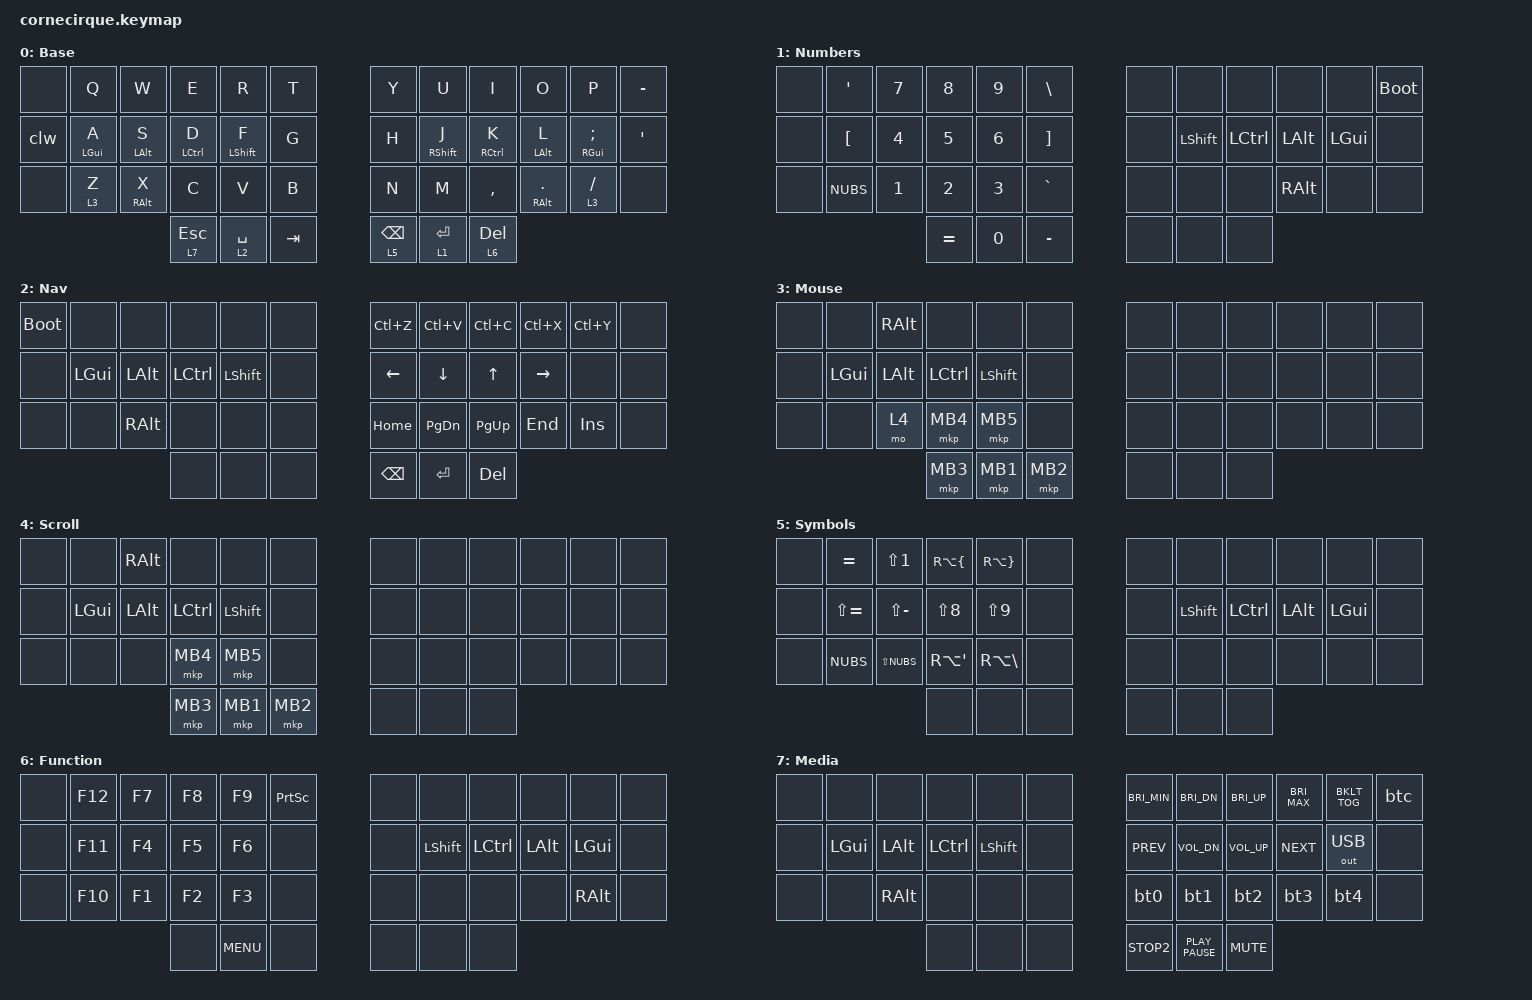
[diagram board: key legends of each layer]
/*
 * Copyright (c) 2020 The ZMK Contributors
 *
 * SPDX-License-Identifier: MIT
 */

#include <behaviors.dtsi>
#include <dt-bindings/zmk/keys.h>
#include <dt-bindings/zmk/pointing.h>
#include <dt-bindings/zmk/outputs.h>
#include <dt-bindings/zmk/bt.h>

/ {
    macros {
        bts0: bluetooth_select_0 {
            compatible = "zmk,behavior-macro";
            #binding-cells = <0>;
            bindings = <&out OUT_BLE>,
                       <&bt BT_SEL 0>;
        };
        bts1: bluetooth_select_1 {
            compatible = "zmk,behavior-macro";
            #binding-cells = <0>;
            bindings = <&out OUT_BLE>,
                       <&bt BT_SEL 1>;
        };
        bts2: bluetooth_select_2 {
            compatible = "zmk,behavior-macro";
            #binding-cells = <0>;
            bindings = <&out OUT_BLE>,
                       <&bt BT_SEL 2>;
        };
        bts3: bluetooth_select_3 {
            compatible = "zmk,behavior-macro";
            #binding-cells = <0>;
            bindings = <&out OUT_BLE>,
                       <&bt BT_SEL 3>;
        };
        bts4: bluetooth_select_4 {
            compatible = "zmk,behavior-macro";
            #binding-cells = <0>;
            bindings = <&out OUT_BLE>,
                       <&bt BT_SEL 4>;
        };
    };

    behaviors {
        hm: homerow_mods {
            compatible = "zmk,behavior-hold-tap";
            label = "HOMEROW_MODS";
            #binding-cells = <2>;
            tapping-term-ms = <200>;
            quick-tap-ms = <0>;
            flavor = "tap-preferred";
            bindings = <&kp>, <&kp>;
            require-prior-idle-ms = <150>;
        };
        ltqa: layer_tap_quick_alpha {
            compatible = "zmk,behavior-hold-tap";
            label = "LAYER_TAP_QUICK_ALPHA";
            #binding-cells = <2>;
            tapping-term-ms = <200>;
            quick-tap-ms = <0>;
            flavor = "tap-preferred";
            bindings = <&mo>, <&kp>;
            require-prior-idle-ms = <150>;
        };
        ltq: layer_tap_quick {
            compatible = "zmk,behavior-hold-tap";
            label = "LAYER_TAP_QUICK";
            #binding-cells = <2>;
            tapping-term-ms = <200>;
            quick-tap-ms = <200>;
            flavor = "hold-preferred";
            bindings = <&mo>, <&kp>;
            require-prior-idle-ms = <0>;
        };
        clw: caps_lock_word {
            compatible = "zmk,behavior-mod-morph";
            #binding-cells = <0>;
            bindings = <&kp CAPS>, <&caps_word>;
            mods = <(MOD_LSFT|MOD_RSFT)>;
        };
        bt0: bluetooth_0 {
            compatible = "zmk,behavior-tap-dance";
            #binding-cells = <0>;
            tapping-term-ms = <200>;
            bindings = <&bts0>, <&bt BT_DISC 0>;
        };
        bt1: bluetooth_1 {
            compatible = "zmk,behavior-tap-dance";
            #binding-cells = <0>;
            tapping-term-ms = <200>;
            bindings = <&bts1>, <&bt BT_DISC 1>;
        };
        bt2: bluetooth_2 {
            compatible = "zmk,behavior-tap-dance";
            #binding-cells = <0>;
            tapping-term-ms = <200>;
            bindings = <&bts2>, <&bt BT_DISC 2>;
        };
        bt3: bluetooth_3 {
            compatible = "zmk,behavior-tap-dance";
            #binding-cells = <0>;
            tapping-term-ms = <200>;
            bindings = <&bts3>, <&bt BT_DISC 3>;
        };
        bt4: bluetooth_4 {
            compatible = "zmk,behavior-tap-dance";
            #binding-cells = <0>;
            tapping-term-ms = <200>;
            bindings = <&bts4>, <&bt BT_DISC 4>;
        };
        btc: bluetooth_clear {
            compatible = "zmk,behavior-tap-dance";
            #binding-cells = <0>;
            tapping-term-ms = <200>;
            bindings = <&bt BT_CLR>, <&bt BT_CLR_ALL>;
        };
    };

    keymap {
        compatible = "zmk,keymap";

        base {
            bindings = <
                &none   &kp Q       &kp W       &kp E           &kp R           &kp T   &kp Y               &kp U           &kp I           &kp O           &kp P           &kp MINUS
                &clw    &hm LGUI A  &hm LALT S  &hm LCTRL D     &hm LSHFT F     &kp G   &kp H               &hm RSHFT J     &hm RCTRL K     &hm LALT L      &hm RGUI SEMI   &kp APOS
                &none   &ltqa 3 Z   &hm RALT X  &kp C           &kp V           &kp B   &kp N               &kp M           &kp COMMA       &hm RALT DOT    &ltqa 3 FSLH    &none
                                                &ltq 7 ESCAPE   &ltq 2 SPACE    &kp TAB &ltq 5 BACKSPACE    &ltq 1 ENTER    &ltq 6 DELETE
            >;

            display-name = "Base";
        };

        num {
            bindings = <
                &none &kp APOS &kp N7 &kp N8    &kp N9 &kp BSLH    &none &none     &none     &none    &none    &bootloader
                &none &kp LBKT &kp N4 &kp N5    &kp N6 &kp RBKT    &none &kp LSHFT &kp LCTRL &kp LALT &kp LGUI &none
                &none &kp NUBS &kp N1 &kp N2    &kp N3 &kp GRAVE   &none &none     &none     &kp RALT &none    &none
                                      &kp EQUAL &kp N0 &kp MINUS   &none &none     &none
            >;

            display-name = "Numbers";
        };

        nav {
            bindings = <
                &bootloader &none    &none    &none     &none     &none   &kp LC(Z) &kp LC(V) &kp LC(C) &kp LC(X) &kp LC(Y) &none
                &none       &kp LGUI &kp LALT &kp LCTRL &kp LSHFT &none   &kp LEFT  &kp DOWN  &kp UP    &kp RIGHT &none     &none
                &none       &none    &kp RALT &none     &none     &none   &kp HOME  &kp PG_DN &kp PG_UP &kp END   &kp INS   &none
                                              &none     &none     &none   &kp BSPC  &kp RET   &kp DEL
            >;

            display-name = "Nav";
        };

        mouse {
            bindings = <
                &none &none    &kp RALT &none     &none     &none      &none &none &none &none &none &none
                &none &kp LGUI &kp LALT &kp LCTRL &kp LSHFT &none      &none &none &none &none &none &none
                &none &none    &mo 4    &mkp MB4  &mkp MB5  &none      &none &none &none &none &none &none
                                        &mkp MB3  &mkp MB1  &mkp MB2   &none &none &none
            >;

            display-name = "Mouse";
        };

        scroll {
            bindings = <
                &none &none    &kp RALT &none     &none     &none      &none &none &none &none &none &none
                &none &kp LGUI &kp LALT &kp LCTRL &kp LSHFT &none      &none &none &none &none &none &none
                &none &none    &none    &mkp MB4  &mkp MB5  &none      &none &none &none &none &none &none
                                        &mkp MB3  &mkp MB1  &mkp MB2   &none &none &none
            >;

            display-name = "Scroll";
        };

        symbols {
            bindings = <
                &none &kp EQUAL     &kp LS(N1)    &kp RA(LBRC) &kp RA(RBRC) &none   &none &none     &none     &none    &none    &none
                &none &kp LS(EQUAL) &kp LS(MINUS) &kp LS(N8)   &kp LS(N9)   &none   &none &kp LSHFT &kp LCTRL &kp LALT &kp LGUI &none
                &none &kp NUBS      &kp LS(NUBS)  &kp RA(APOS) &kp RA(BSLH) &none   &none &none     &none     &none    &none    &none
                                                  &none        &none        &none   &none &none     &none
            >;

            display-name = "Symbols";
        };

        function {
            bindings = <
                &none &kp F12 &kp F7 &kp F8 &kp F9     &kp PSCRN   &none &none     &none     &none    &none    &none
                &none &kp F11 &kp F4 &kp F5 &kp F6     &none       &none &kp LSHFT &kp LCTRL &kp LALT &kp LGUI &none
                &none &kp F10 &kp F1 &kp F2 &kp F3     &none       &none &none     &none     &none    &kp RALT &none
                                     &none  &kp K_MENU &none       &none &none     &none
            >;

            display-name = "Function";
        };

        media {
            bindings = <
                &none &none    &none    &none     &none     &none   &kp C_BRI_MIN &kp C_BRI_DN     &kp C_BRI_UP &kp C_BRI_MAX &kp C_BKLT_TOG &btc
                &none &kp LGUI &kp LALT &kp LCTRL &kp LSHFT &none   &kp K_PREV    &kp K_VOL_DN     &kp K_VOL_UP &kp K_NEXT    &out OUT_USB   &none
                &none &none    &kp RALT &none     &none     &none   &bt0          &bt1             &bt2         &bt3          &bt4           &none
                                        &none     &none     &none   &kp K_STOP2   &kp K_PLAY_PAUSE &kp K_MUTE
            >;

            display-name = "Media";
        };
    };
};
